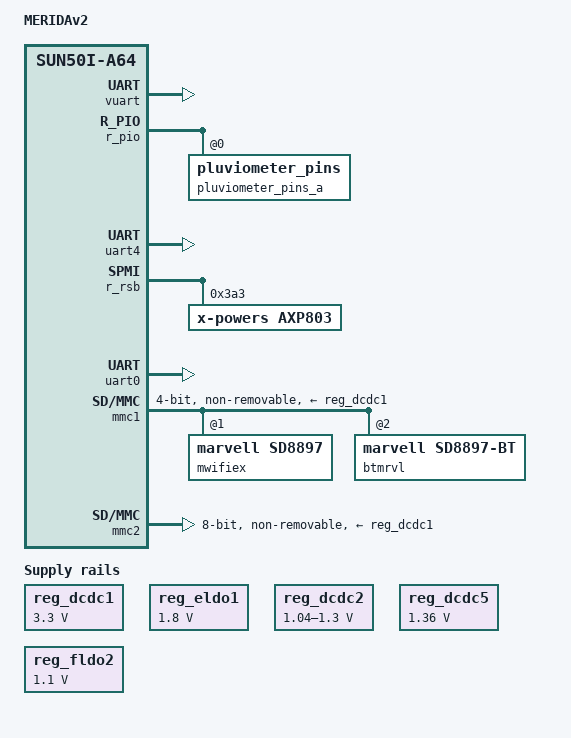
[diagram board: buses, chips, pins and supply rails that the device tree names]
/*
 * Copyright (c) 2016 ARM Ltd.
 *
 * This file is dual-licensed: you can use it either under the terms
 * of the GPL or the X11 license, at your option. Note that this dual
 * licensing only applies to this file, and not this project as a
 * whole.
 *
 *  a) This library is free software; you can redistribute it and/or
 *     modify it under the terms of the GNU General Public License as
 *     published by the Free Software Foundation; either version 2 of the
 *     License, or (at your option) any later version.
 *
 *     This library is distributed in the hope that it will be useful,
 *     but WITHOUT ANY WARRANTY; without even the implied warranty of
 *     MERCHANTABILITY or FITNESS FOR A PARTICULAR PURPOSE.  See the
 *     GNU General Public License for more details.
 *
 * Or, alternatively,
 *
 *  b) Permission is hereby granted, free of charge, to any person
 *     obtaining a copy of this software and associated documentation
 *     files (the "Software"), to deal in the Software without
 *     restriction, including without limitation the rights to use,
 *     copy, modify, merge, publish, distribute, sublicense, and/or
 *     sell copies of the Software, and to permit persons to whom the
 *     Software is furnished to do so, subject to the following
 *     conditions:
 *
 *     The above copyright notice and this permission notice shall be
 *     included in all copies or substantial portions of the Software.
 *
 *     THE SOFTWARE IS PROVIDED "AS IS", WITHOUT WARRANTY OF ANY KIND,
 *     EXPRESS OR IMPLIED, INCLUDING BUT NOT LIMITED TO THE WARRANTIES
 *     OF MERCHANTABILITY, FITNESS FOR A PARTICULAR PURPOSE AND
 *     NONINFRINGEMENT. IN NO EVENT SHALL THE AUTHORS OR COPYRIGHT
 *     HOLDERS BE LIABLE FOR ANY CLAIM, DAMAGES OR OTHER LIABILITY,
 *     WHETHER IN AN ACTION OF CONTRACT, TORT OR OTHERWISE, ARISING
 *     FROM, OUT OF OR IN CONNECTION WITH THE SOFTWARE OR THE USE OR
 *     OTHER DEALINGS IN THE SOFTWARE.
 */

/dts-v1/;

#include "sun50i-a64.dtsi"

#include <dt-bindings/gpio/gpio.h>

/ {
	model = "MERIDAv2";
	compatible = "meridav2,meridav2", "allwinner,sun50i-a64";

	aliases {
		ethernet0 = &emac;
		serial0 = &uart0;
		serial1 = &uart1;
		serial2 = &uart2;
		serial3 = &uart3;
		serial4 = &uart4;
	};

	chosen {
	    bootargs = "earlyprintk=sunxi-uart,0x01c28000 loglevel=8 console=ttyS0,115200n8 init=/init";
		stdout-path = "serial0:115200n8";
		linux,initrd-start = <0x0 0x0>;
		linux,initrd-end = <0x0 0x0>;
	};

	agency {
		domain-size = <0x20000000>; /* 512 MB */

		/* Backends */
		backends {

			vuart {
				compatible = "vuart,backend";
				status = "ok";
			};

			vuihandler {
				compatible = "vuihandler,backend";
				status = "ok";
			};

			vweather {
				compatible = "vweather,backend";
				status = "ok";
			};
		};

	};

	psci {
		compatible	=  "arm,psci-0.2";
   		method		=  "smc";
   		psci_version =        <0x84000000>;
   		cpu_suspend	=         <0xc4000001>;
   		cpu_off		=         <0x84000002>;
   		cpu_on		=         <0xc4000003>;
   		affinity_info =       <0xc4000004>;
   		migrate		=         <0xc4000005>;
   		migrate_info_type =   <0x84000006>;
   		migrate_info_up_cpu = <0xc4000007>;
   		system_off =          <0x84000008>;
   		system_reset =        <0x84000009>;

	};
	
	firmware {
		optee {
			compatible = "linaro,optee-tz";
			method = "smc";
		};
	};

};

&pio {
	uart4_rts_cts_pins_a: uart4_rts_cts@0 {
		allwinner,pins = "PD4", "PD5";
		allwinner,function = "gpio_out";
		drive-strength = <0>;
		bias-disable;
	};
};

&r_pio {
	pluviometer_pins_a: pluviometer_pins@0 {
		allwinner,pins = "PL2";
		allwinner,function = "gpio_in";
		drive-strength = <0>;
		bias-disable;
	};
};

&soc {
	weather_gpios: weather_gpios {
		pinctrl-0 = <&uart4_rts_cts_pins_a>, <&pluviometer_pins_a>;
		status = "okay";
	};
};

&uart4 {
	status = "okay";
};

&r_rsb {
	status = "okay";

	axp803: pmic@3a3 {
		compatible = "x-powers,axp803";
		reg = <0x3a3>;
		interrupt-parent = <&r_intc>;
		interrupts = <0 IRQ_TYPE_LEVEL_LOW>;
	};
};

#include "axp803.dtsi"

&uart0 {
    pinctrl-names = "default", "sleep";
	pinctrl-0 = <&uart0_pins_a>;	 
	uart0_port = <0>;
	uart0_type = <4>;
	status = "okay";
};

 
&mmc1 {
	pinctrl-names = "default";
	pinctrl-0 = <&mmc1_pins>;
	vmmc-supply = <&reg_dcdc1>;
    vqmmc-supply = <&reg_eldo1>; 
	bus-width = <4>;
	non-removable;
	status = "okay";
	sd-uhs-sdr104;
	mwifiex {
		compatible = "marvell,sd8897";
		reg = <1>;
	};
	
	btmrvl: btmrvl@2 {
		compatible = "marvell,sd8897-bt";
		reg = <2>;
	};
};

&mmc2 {
	pinctrl-names = "default";
	pinctrl-0 = <&mmc2_pins>;
	vmmc-supply = <&reg_dcdc1>;
	vqmmc-supply = <&reg_eldo1>;
	bus-width = <8>;
	non-removable;
	cap-mmc-hw-reset;
	status = "okay";
	mmc-hs200-1_8v;
};

&reg_dcdc1 {
	regulator-always-on;
	regulator-min-microvolt = <3300000>;
	regulator-max-microvolt = <3300000>;
	regulator-name = "vcc-3v3";
	status = "okay";
};

&reg_eldo1 {
	regulator-always-on;
	regulator-min-microvolt = <1800000>;
	regulator-max-microvolt = <1800000>;
	regulator-name = "cpvdd";
	status = "okay";
};

#if 0 /* SOO.tech */ /* Not used at the moment */
&reg_aldo2 {
	regulator-always-on;
	regulator-min-microvolt = <1800000>;
	regulator-max-microvolt = <3300000>;
	regulator-name = "vcc-pl";
};

&reg_aldo3 {
	regulator-always-on;
	regulator-min-microvolt = <3000000>;
	regulator-max-microvolt = <3000000>;
	regulator-name = "vcc-pll-avcc";
};

&reg_dc1sw {
	regulator-name = "vcc-phy";
};

#endif /* 0 */

&reg_dcdc2 {
	regulator-always-on;
	regulator-min-microvolt = <1040000>;
	regulator-max-microvolt = <1300000>;
	regulator-name = "vdd-cpux";
	status = "okay";
};

/* DCDC3 is polyphased with DCDC2 */

/*
 * The DRAM chips used by Pine64 boards are DDR3L-compatible, so they can
 * work at 1.35V with less power consumption.
 * As AXP803 DCDC5 cannot reach 1.35V accurately, use 1.36V instead.
 */
&reg_dcdc5 {
	regulator-always-on;
	regulator-min-microvolt = <1360000>;
	regulator-max-microvolt = <1360000>;
	regulator-name = "vcc-dram";
	status = "okay";
};

#if 0 /* SOO.tech */
&reg_dcdc6 {
	regulator-always-on;
	regulator-min-microvolt = <1100000>;
	regulator-max-microvolt = <1100000>;
	regulator-name = "vdd-sys";
};

&reg_dldo1 {
	regulator-min-microvolt = <3300000>;
	regulator-max-microvolt = <3300000>;
	regulator-name = "vcc-hdmi";
};

&reg_dldo2 {
	regulator-min-microvolt = <3300000>;
	regulator-max-microvolt = <3300000>;
	regulator-name = "vcc-mipi";
};

&reg_dldo4 {
	regulator-min-microvolt = <3300000>;
	regulator-max-microvolt = <3300000>;
	regulator-name = "vcc-wifi";
};

&reg_fldo1 {
	regulator-min-microvolt = <1200000>;
	regulator-max-microvolt = <1200000>;
	regulator-name = "vcc-1v2-hsic";
};
#endif /* 0 */

/*
 * The A64 chip cannot work without this regulator off, although
 * it seems to be only driving the AR100 core.
 * Maybe we don't still know well about CPUs domain.
 */
&reg_fldo2 {
	regulator-always-on;
	regulator-min-microvolt = <1100000>;
	regulator-max-microvolt = <1100000>;
	regulator-name = "vdd-cpus";
};

#if 0 /* SOO.tech */

&reg_rtc_ldo {
	regulator-name = "vcc-rtc";
};

&simplefb_hdmi {
	vcc-hdmi-supply = <&reg_dldo1>;
};
#endif /* 0 */

#if 0 /* SOO.tech */

/* On Pi-2 connector */
&uart2 {
	pinctrl-names = "default";
	pinctrl-0 = <&uart2_pins>;
	status = "disabled";
};

/* On Euler connector */
&uart3 {
	pinctrl-names = "default";
	pinctrl-0 = <&uart3_pins>;
	status = "disabled";
};

/* On Euler connector, RTS/CTS optional */
&uart4 {
	pinctrl-names = "default";
	pinctrl-0 = <&uart4_pins>;
	status = "disabled";
};

&usb_otg {
	dr_mode = "host";
	status = "okay";
};

&usbphy {
	status = "okay";
};

#endif /* 0 */

 
	
